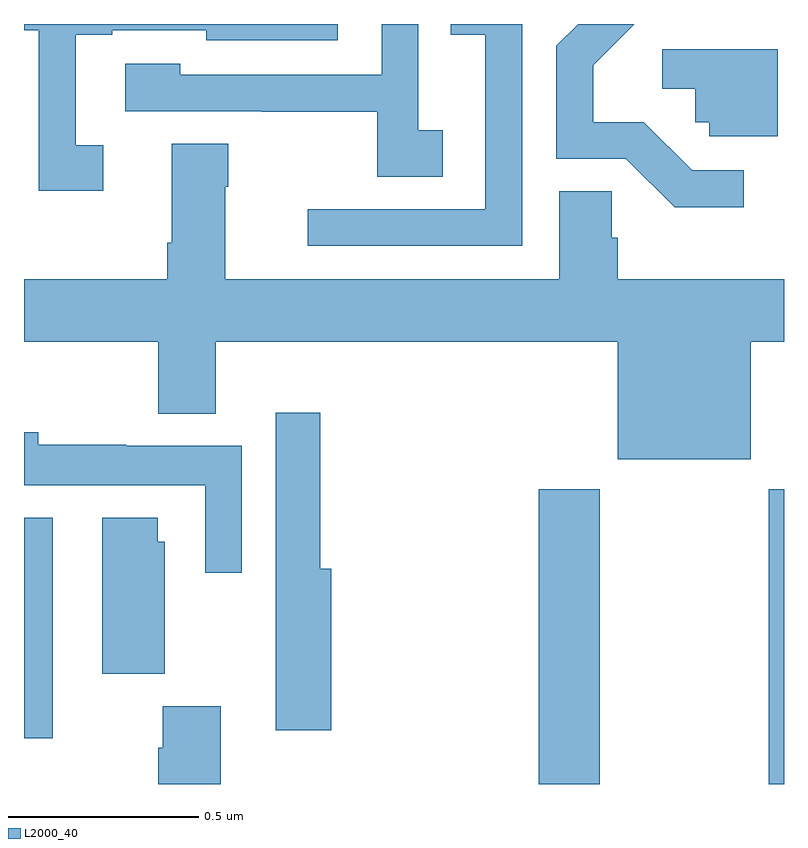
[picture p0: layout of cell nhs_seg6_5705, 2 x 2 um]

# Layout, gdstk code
import gdstk
lib = gdstk.Library(unit=1e-6, precision=1e-09)
def R(c, l, rs):  # rectangles x0, y0, x1, y1
    for r in rs: c.add(gdstk.rectangle(r[:2], r[2:], *l))
def P(c, l, *ps):  # polygons
    for p in ps: c.add(gdstk.Polygon(p, *l))
L2000_40 = (2000, 40)

nhs_seg6_5705 = lib.new_cell('nhs_seg6_5705')
R(nhs_seg6_5705, L2000_40, [(187.355,951.5,187.515,952.276), (187.96,951.5,188,952.276), (186,951.62,186.076,952.201)])
P(nhs_seg6_5705, L2000_40, [(186.208,953.181),(186.136,953.181),(186.136,953.472),(186.232,953.472),(186.232,953.484),(186.48,953.484),(186.48,953.457),(186.826,953.457),(186.826,953.5),(186,953.5),(186,953.484),(186.039,953.484),(186.039,953.061),(186.208,953.061)],
  [(187.102,953.22),(187.038,953.22),(187.038,953.5),(186.942,953.5),(186.942,953.367),(186.411,953.367),(186.411,953.395),(186.267,953.395),(186.267,953.271),(186.625,953.271),(186.625,953.269),(186.93,953.269),(186.93,953.098),(187.102,953.098)],
  [(187.311,953.5),(187.123,953.5),(187.123,953.472),(187.214,953.472),(187.214,953.013),(186.747,953.013),(186.747,952.917),(187.311,952.917)],
  [(187.894,953.115),(187.758,953.115),(187.631,953.242),(187.498,953.242),(187.498,953.392),(187.606,953.5),(187.458,953.5),(187.401,953.443),(187.401,953.145),(187.584,953.145),(187.712,953.018),(187.894,953.018)],
  [(187.984,953.433),(187.68,953.433),(187.68,953.33),(187.767,953.33),(187.767,953.241),(187.803,953.241),(187.803,953.205),(187.984,953.205)],
  [(187.912,952.664),(188,952.664),(188,952.828),(187.562,952.828),(187.562,952.938),(187.547,952.938),(187.547,953.06),(187.409,953.06),(187.409,952.828),(186.529,952.828),(186.529,953.072),(186.537,953.072),(186.537,953.185),(186.389,953.185),(186.389,952.924),(186.377,952.924),(186.377,952.828),(186,952.828),(186,952.664),(186.353,952.664),(186.353,952.475),(186.505,952.475),(186.505,952.664),(187.562,952.664),(187.562,952.355),(187.912,952.355)],
  [(186.809,952.066),(186.779,952.066),(186.779,952.477),(186.663,952.477),(186.663,951.962),(186.662,951.962),(186.662,951.642),(186.809,951.642)],
  [(186.573,952.39),(186.269,952.39),(186.269,952.393),(186.038,952.393),(186.038,952.426),(186,952.426),(186,952.286),(186.477,952.286),(186.477,952.056),(186.573,952.056)],
  [(186.37,952.137),(186.352,952.137),(186.352,952.201),(186.206,952.201),(186.206,951.79),(186.37,951.79)],
  [(186.518,951.705),(186.365,951.705),(186.365,951.596),(186.353,951.596),(186.353,951.5),(186.518,951.5)])

lib.write_gds('nhs_seg6_5705.gds')
